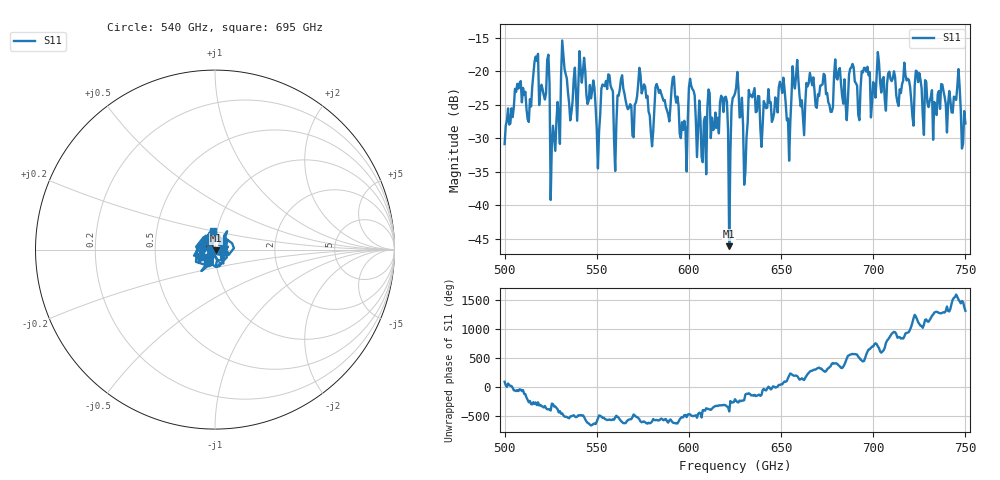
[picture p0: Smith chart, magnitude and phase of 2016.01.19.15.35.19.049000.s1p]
!Created with skrf (http://scikit-rf.org).
# GHz S RI R 50.0
!freq ReS11 ImS11
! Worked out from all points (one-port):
!   401 points, 500 GHz to 750 GHz, reference 50 ohm
!   lowest |S11| = -46.1 dB at 621.9 GHz (marker M1), VSWR 1.01, Z = 50.3 - j0.4 ohm
!   |S11| at or under -10 dB: start of sweep to end of sweep
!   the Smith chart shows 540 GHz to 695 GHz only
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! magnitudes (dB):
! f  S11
! 500 GHz  -30.9
! 507.5 GHz  -22.6
! 513.1 GHz  -27.6
! 516.9 GHz  -17.8
! 523.1 GHz  -18.3
! 526.2 GHz  -28.1
! 531.2 GHz  -15.4
! 535.6 GHz  -27.3
! 541.9 GHz  -21.7
! 550.6 GHz  -34.5
! 553.8 GHz  -22.1
! 560.6 GHz  -27.9
! 562.5 GHz  -22.7
! 593.8 GHz  -23.8
! 598.1 GHz  -28.6
! 601.9 GHz  -22.6
! 608.1 GHz  -27.5
! 618.8 GHz  -26.1
! 621.9 GHz  -46.1
! 625 GHz  -23.3
! 630.6 GHz  -35.1
! 633.8 GHz  -23.5
! 650.6 GHz  -23.2
! 653.8 GHz  -27.0
! 656.2 GHz  -19.2
! 687.5 GHz  -19.6
! 718.8 GHz  -21.1
! 750 GHz  -27.8
